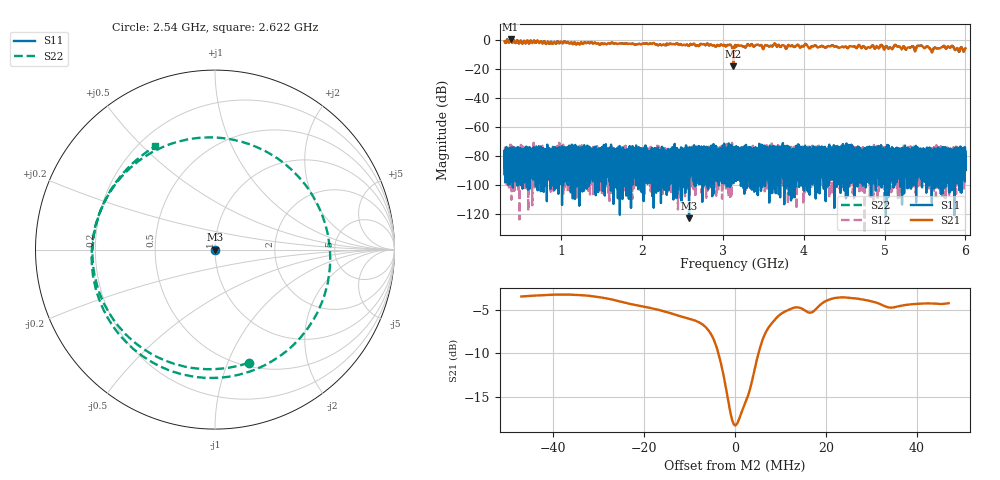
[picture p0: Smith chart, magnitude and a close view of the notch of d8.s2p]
!Agilent Technologies,N5230C,SG49000117,A.08.50.07
!Agilent N5230C: A.08.50.07
!Date: Sunday, March 17, 2024 02:42:11
!Correction: S11(Off)
!S21(Off)
!S12(Off)
!S22(Off)
!S2P File: Measurements: S11, S21, S12, S22:
# Hz S  RI  R 50
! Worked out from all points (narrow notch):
!   20001 points, 300 MHz to 6 GHz, reference 50 ohm
!   highest |S21| = 0.45 dB at 373.8 MHz (marker M1); lowest = -18.2 dB at 3.129 GHz (marker M2)
!   notch at M2: 14.5 dB deep, 7.85 MHz wide at half that depth
!   lowest |S11| = -123.1 dB at 2.582 GHz (marker M3), VSWR 1.00, Z = 50 + j8.01e-06 ohm
!   |S11| at or under -10 dB: start of sweep to end of sweep
!   |S22| runs from -18.2 to 0.5 dB; largest |S21 - S12| = 1.1
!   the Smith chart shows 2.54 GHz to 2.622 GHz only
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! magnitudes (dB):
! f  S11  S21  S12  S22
! 300 MHz  -85.6  -1.0  -81.1  -0.9
! 373.8 MHz  -81.0  0.5  -78.2  0.5
! 1.25 GHz  -86.8  -1.8  -79.9  -1.8
! 2.2 GHz  -89.1  -3.8  -82.7  -3.8
! 2.582 GHz  -123.1  -4.1  -78.7  -4.0
! 3.077 GHz  -78.1  -3.6  -79.1  -3.6
! 3.129 GHz  -80.0  -18.2  -76.3  -18.2
! 3.15 GHz  -78.5  -3.8  -81.9  -3.8
! 3.17 GHz  -93.4  -4.3  -83.4  -4.3
! 3.265 GHz  -81.5  -4.8  -79.4  -4.7
! 3.331 GHz  -78.3  -4.2  -89.8  -4.2
! 3.488 GHz  -77.6  -5.0  -86.1  -4.9
! 3.638 GHz  -77.4  -2.4  -77.4  -2.4
! 4.1 GHz  -82.8  -4.4  -74.3  -4.3
! 5.05 GHz  -82.5  -6.1  -82.2  -6.1
! 5.143 GHz  -91.3  -3.9  -81.1  -3.9
! 5.378 GHz  -77.5  -8.0  -75.8  -8.0
! 5.436 GHz  -76.7  -4.2  -80.3  -4.2
! 5.538 GHz  -87.4  -4.8  -83.3  -4.8
! 5.579 GHz  -77.1  -8.0  -77.4  -8.0
! 5.723 GHz  -93.8  -4.6  -79.6  -4.6
! 6 GHz  -79.6  -5.9  -81.6  -5.9
